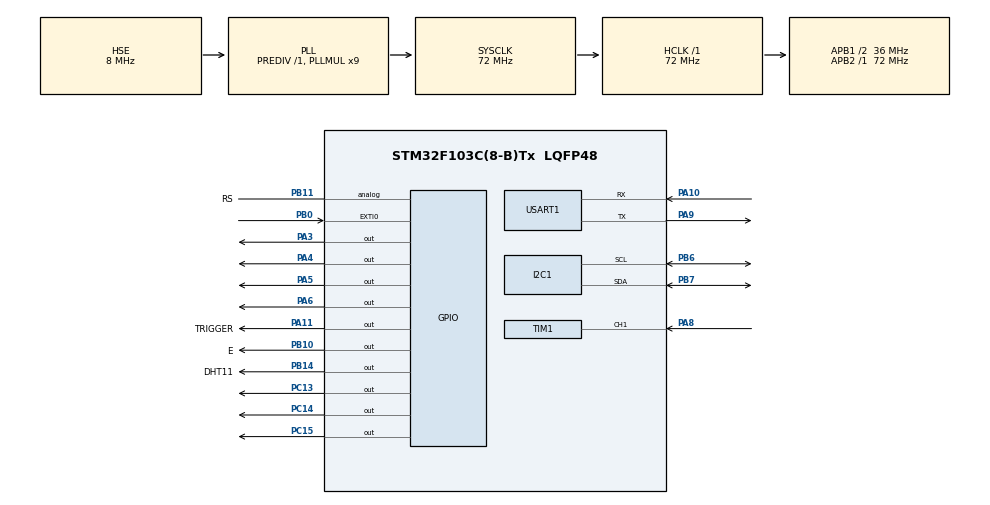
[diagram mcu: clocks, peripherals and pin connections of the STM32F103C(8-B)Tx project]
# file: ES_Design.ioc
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Dma.Request0=USART1_TX
Dma.Request1=USART1_RX
Dma.USART1_RX.1.Direction=DMA_PERIPH_TO_MEMORY
Dma.USART1_RX.1.Instance=DMA1_Channel5
Dma.USART1_RX.1.MemDataAlignment=DMA_MDATAALIGN_BYTE
Dma.USART1_RX.1.MemInc=DMA_MINC_ENABLE
Dma.USART1_RX.1.Mode=DMA_NORMAL
Dma.USART1_RX.1.PeriphDataAlignment=DMA_PDATAALIGN_BYTE
Dma.USART1_RX.1.PeriphInc=DMA_PINC_DISABLE
Dma.USART1_RX.1.Priority=DMA_PRIORITY_LOW
Dma.USART1_TX.0.Direction=DMA_MEMORY_TO_PERIPH
Dma.USART1_TX.0.Instance=DMA1_Channel4
Dma.USART1_TX.0.MemDataAlignment=DMA_MDATAALIGN_BYTE
Dma.USART1_TX.0.MemInc=DMA_MINC_ENABLE
Dma.USART1_TX.0.Mode=DMA_NORMAL
Dma.USART1_TX.0.PeriphDataAlignment=DMA_PDATAALIGN_BYTE
Dma.USART1_TX.0.PeriphInc=DMA_PINC_DISABLE
Dma.USART1_TX.0.Priority=DMA_PRIORITY_LOW
FREERTOS.Tasks01=defaultTask,0,128,StartDefaultTask,Default,NULL,Dynamic,NULL,NULL
FREERTOS.configTOTAL_HEAP_SIZE=10240
Mcu.Family=STM32F1
Mcu.Name=STM32F103C(8-B)Tx
Mcu.Package=LQFP48
NVIC.DMA1_Channel4_IRQn=true\:5\:0\:false\:false\:true\:true\:false\:true\:true
NVIC.DMA1_Channel5_IRQn=true\:5\:0\:false\:false\:true\:true\:false\:true\:true
NVIC.PriorityGroup=NVIC_PRIORITYGROUP_4
NVIC.TIM1_BRK_IRQn=true\:5\:0\:false\:false\:true\:true\:true\:true\:true
NVIC.TIM1_CC_IRQn=true\:5\:0\:false\:false\:true\:true\:true\:true\:true
NVIC.TIM1_TRG_COM_IRQn=true\:5\:0\:false\:false\:true\:true\:true\:true\:true
NVIC.TIM1_UP_IRQn=true\:5\:0\:false\:false\:true\:true\:true\:true\:true
NVIC.TIM3_IRQn=true\:15\:0\:false\:false\:true\:false\:false\:true\:true
NVIC.TimeBase=TIM3_IRQn
NVIC.TimeBaseIP=TIM3
NVIC.USART1_IRQn=true\:5\:0\:false\:false\:true\:true\:true\:true\:true
PA10.Mode=Asynchronous
PA10.Signal=USART1_RX
PA11.GPIO_Label=TRIGGER
PA11.Signal=GPIO_Output
PA13.Mode=Serial_Wire
PA13.Signal=SYS_JTMS-SWDIO
PA14.Mode=Serial_Wire
PA14.Signal=SYS_JTCK-SWCLK
PA3.Signal=GPIO_Output
PA4.Signal=GPIO_Output
PA5.Signal=GPIO_Output
PA6.Signal=GPIO_Output
PA8.Signal=S_TIM1_CH1
PA9.Mode=Asynchronous
PA9.Signal=USART1_TX
PB0.Signal=GPXTI0
PB10.GPIO_Label=E
PB10.Signal=GPIO_Output
PB11.GPIO_Label=RS
PB11.Signal=GPIO_Analog
PB14.GPIO_Label=DHT11
PB14.Signal=GPIO_Output
PB6.Mode=I2C
PB6.Signal=I2C1_SCL
PB7.Mode=I2C
PB7.Signal=I2C1_SDA
PC13-TAMPER-RTC.Signal=GPIO_Output
PC14-OSC32_IN.Signal=GPIO_Output
PC15-OSC32_OUT.Signal=GPIO_Output
PD0-OSC_IN.Mode=HSE-External-Oscillator
PD0-OSC_IN.Signal=RCC_OSC_IN
PD1-OSC_OUT.Mode=HSE-External-Oscillator
PD1-OSC_OUT.Signal=RCC_OSC_OUT
ProjectManager.HeapSize=0x200
ProjectManager.StackSize=0x400
ProjectManager.TargetToolchain=MDK-ARM V5.32
RCC.AHBFreq_Value=72000000
RCC.APB1CLKDivider=RCC_HCLK_DIV2
RCC.APB1Freq_Value=36000000
RCC.APB1TimFreq_Value=72000000
RCC.APB2Freq_Value=72000000
RCC.APB2TimFreq_Value=72000000
RCC.HCLKFreq_Value=72000000
RCC.PLLMUL=RCC_PLL_MUL9
RCC.PLLSourceVirtual=RCC_PLLSOURCE_HSE
RCC.SYSCLKFreq_VALUE=72000000
RCC.SYSCLKSource=RCC_SYSCLKSOURCE_PLLCLK
RCC.USBFreq_Value=72000000
SH.S_TIM1_CH1.0=TIM1_CH1,Input_Capture1_from_TI1
TIM1.Channel-Input_Capture1_from_TI1=TIM_CHANNEL_1
TIM1.Prescaler=71
USART1.VirtualMode=VM_ASYNC
VP_FREERTOS_VS_CMSIS_V1.Mode=CMSIS_V1
VP_SYS_VS_tim3.Mode=TIM3
VP_TIM1_VS_ClockSourceINT.Mode=Internal
board=custom

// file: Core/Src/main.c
/* USER CODE BEGIN Header */
/**
  ******************************************************************************
  * @file           : main.c
  * @brief          : Main program body
  ******************************************************************************
  * @attention
  *
  * Copyright (c) 2023 STMicroelectronics.
  * All rights reserved.
  *
  * This software is licensed under terms that can be found in the LICENSE file
  * in the root directory of this software component.
  * If no LICENSE file comes with this software, it is provided AS-IS.
  *
  ******************************************************************************
  */
/* USER CODE END Header */
#include "main.h"
#include "cmsis_os.h"

/* USER CODE BEGIN Includes */
#include "CLCD_I2C.h"
#include <stdio.h>
#include <string.h>
#include <math.h>
#include <stdbool.h>
uint32_t a = 0;
/* USER CODE END Includes */

/* USER CODE BEGIN PTD */

typedef struct{           // Gửi command, chu kì và ngưỡng đến task Uart_Threshold để thực thi
  uint32_t id;
  uint32_t command;
  uint32_t Frequency[3];
  uint32_t Threshold[3];
}myUartQueueData_t;

typedef struct{           // Gửi dữ liệu đến Task LCD và task Uart_Threshold
  uint32_t id;             // id = 1 gửi từ Task DHT
	uint32_t temp;           // id = 2 gửi từ Task HCSR
  uint32_t humi;
  uint32_t distance;
}myQueueData_t;

//uint32_t temp = 0;
//uint32_t humi = 0;
uint32_t Threshold_tem = 0;
uint32_t Threshold_hum = 0;
uint32_t Lcd_temp = 0;
uint32_t Lcd_humi = 0;
uint32_t time_dht = 0;
uint32_t dist = 0;
uint32_t Threshold_dist = 0;
uint32_t Lcd_dist = 0;
uint32_t time_hcsr = 0;
uint32_t time_Threshold = 0;
uint32_t time_Threshold_now = 0;
uint32_t time_lcd = 0;
uint32_t time_button = 0;
uint32_t time_uart = 0;
uint32_t time_dht_read = 0;
uint32_t time_hcsr_read = 0;
uint32_t cnt_uart = 0;
uint32_t cnt_uart_rei = 0;
/* Tung cmt */

#define TransmitBuff_SIZE	70
#define ReceiveBuff_SIZE	10
#define MainBuff_SIZE		9
#define Queue_SIZE			45

typedef void (*Task_FunctionTypeDef) (void);
Task_FunctionTypeDef queue[Queue_SIZE];
Task_FunctionTypeDef UART_Transmit_Func = NULL;

/* Data of DHT11 Sensor */
float temp = 0;
float humi = 0;
uint8_t Rh_byte1, Rh_byte2, Temp_byte1, Temp_byte2;
uint16_t SUM, RH, TEMP;
uint8_t Presence = 0;

/* Data line of LCD1602*/
char data_line_1[16];
char data_line_2[16];

/* Data of HC-SR04 Sensor */
uint32_t IC_Val1 = 0;
uint32_t IC_Val2 = 0;
uint32_t Difference = 0;
uint8_t Is_First_Captured = 0;  // is the first value captured ?
//uint8_t distance  = 0;
uint8_t distance  = 0;

/* Buffer Array */
uint8_t RxBuffer[ReceiveBuff_SIZE];
uint8_t TxBuffer[TransmitBuff_SIZE];
uint8_t MainBuffer[MainBuff_SIZE];

/* Period Time */
uint8_t DHT11_transmit_period;
uint8_t HCSR04_transmit_period;
uint8_t temp_transmit_period;
uint8_t humi_transmit_period;

/* Temperature Threshold */
uint8_t temp_threshold;

/* Humidity Threshold */
uint8_t humi_threshold;

/* Distance Threshold */
uint8_t dist_threshold;

/* Etc .. */
uint8_t cmd_index = 1;
uint8_t len = 0;

uint32_t start_tick = 0;
uint32_t stop_tick = 0;
uint32_t execute_tick = 0;

uint8_t humi_cnt = 0;
uint8_t temp_cnt = 0;
uint8_t dist_cnt = 0;

/* Enable Flag */
bool read_DHT11_flag = 0;
bool read_HCSR04_flag = 0;
bool transmit_DHT11_data_flag = 0;
bool transmit_temp_data_flag = 0;
bool transmit_humi_data_flag = 0;
bool transmit_dist_data_flag = 0;
bool transmit_DHT11_HCSR04_data_flag = 0;
bool transmit_temp_HCSR04_data_flag = 0;
bool transmit_humi_HCSR04_data_flag = 0;
bool lcd_display_flag = 0;
bool uart_enable_cmd_1 = 0;
bool uart_enable_cmd_2 = 0;

bool uart_enable_cmd_1_tmp = 0;
bool uart_enable_cmd_2_tmp = 0;

bool button_enable = 0;
bool isHumiTrans = 0;
bool isDistTrans = 0;

uint16_t Count = 0;
uint16_t cnt = 0;
uint16_t cnt_1 = 0;
uint8_t isr_cnt = 0;

int isr_tick_start;
int isr_tick_stop;
int isr_execute_tick;

int dht11_tick_old = 0;
int dht11_tick_new = 0;
int dht11_tick_period;

int lcd_tick_old = 0;
int lcd_tick_new = 0;
int lcd_tick_period;

int hcsr04_tick_old = 0;
int hcsr04_tick_new = 0;
int hcsr04_tick_period;

int old_tick = 0;
int new_tick = 0;

int task_idx = 0;
int old_task_idx;
int execute_time[46];
int idx = 4;

/* USER CODE END PTD */

I2C_HandleTypeDef hi2c1;

TIM_HandleTypeDef htim1;

UART_HandleTypeDef huart1;
DMA_HandleTypeDef hdma_usart1_tx;
DMA_HandleTypeDef hdma_usart1_rx;

osThreadId defaultTaskHandle;
/* USER CODE BEGIN PV */

osThreadId ButtonTaskHandle;               // task DHT
osThreadId HCSR04TaskHandle;            // task HCSR
osThreadId LCDTaskHandle;               // task LCD
osThreadId UARTTaskHandle;              // task xử lý dữ liệu nhận được từ UART
osThreadId DHTTaskHandle;            // task nút nhấn
osThreadId Uart_ThresholdTaskHandle;    // task xử lý ngưỡng và uart

osMessageQId myQueueDataHandle;                 // Gửi dữ liệu đến LCDTask
osMessageQId myQueueUart_ThresholdHandle;       // Gửi ngưỡng, chu kì đến Uart_ThresholdTask
osMessageQId myQueueUart_ThresholdDataHandle;   // Gửi dữ liệu đến Uart_ThresholdTask

/* USER CODE END PV */

void SystemClock_Config(void);
static void MX_GPIO_Init(void);
static void MX_DMA_Init(void);
static void MX_TIM1_Init(void);
static void MX_USART1_UART_Init(void);
static void MX_I2C1_Init(void);
void StartDefaultTask(void const * argument);

/* USER CODE BEGIN PFP */
CLCD_I2C_Name LCD1;
void ButtonTask(void const * argument);
void HCSR04Task(void const * argument);
void LCDTask(void const * argument);
void UARTTask(void const * argument);
void DHTTask(void const * argument);
void Uart_ThresholdTask(void const * argument);

// // Hiển thị LCD
//  void LCD_Display(void);

// Nhận UART
void HAL_UARTEx_RxEventCallback(UART_HandleTypeDef *huart, uint16_t Size);

// Delay microsecond
void delay_us(uint16_t time);

// Hàm Callback khi sóng siêu âm phản hồi v�? để đo khoảng cách
void HAL_TIM_IC_CaptureCallback(TIM_HandleTypeDef *htim);

// Hàm ngắt Timer
void HAL_TIM_PeriodElapsedCallback(TIM_HandleTypeDef *htim);

// Set chân cho DHT11
void Set_Pin_Output(GPIO_TypeDef *GPIOx, uint16_t GPIO_Pin);
void Set_Pin_Input(GPIO_TypeDef *GPIOx, uint16_t GPIO_Pin);

// Khởi tạo giao tiếp giữa DHT11 với Vi đi�?u khiển
void DHT11_Start(void);

// Kiểm tra phản hồi của DHT11
uint8_t DHT11_Check_Response(void);

uint8_t DHT11_Read(void);

// �?�?c cảm biến DHT11
void Read_DHT11_Sensor(void);

// �?�?c cảm biến HCSR04
void Read_HCSR04_Sensor(void);

/* USER CODE END PFP */

/* USER CODE BEGIN 0 */

/* Tung cmt */

// Set period, threshold value by button
void HAL_GPIO_EXTI_Callback(uint16_t GPIO_Pin)
{

	UNUSED(GPIO_Pin);
	if(GPIO_Pin == GPIO_PIN_0 ){
    BaseType_t xHigherPriority;
    xHigherPriority = xTaskResumeFromISR(ButtonTaskHandle);
    portEND_SWITCHING_ISR(xHigherPriority);
  }
}

void delay_us(uint16_t time)
{
	__HAL_TIM_SET_COUNTER(&htim1, 0);
	while (__HAL_TIM_GET_COUNTER (&htim1) < time);
}

void HAL_TIM_IC_CaptureCallback(TIM_HandleTypeDef *htim)
{
	if (htim->Channel == HAL_TIM_ACTIVE_CHANNEL_1)  // if the interrupt source is channel1
	{
		if (Is_First_Captured==0) // if the first value is not captured
		{
			IC_Val1 = HAL_TIM_ReadCapturedValue(htim, TIM_CHANNEL_1); // read the first value
			Is_First_Captured = 1;  // set the first captured as true
			// Now change the polarity to falling edge
			__HAL_TIM_SET_CAPTUREPOLARITY(htim, TIM_CHANNEL_1, TIM_INPUTCHANNELPOLARITY_FALLING);
		}

		else if (Is_First_Captured==1)   // if the first is already captured
		{
			IC_Val2 = HAL_TIM_ReadCapturedValue(htim, TIM_CHANNEL_1);  // read second value
			__HAL_TIM_SET_COUNTER(htim, 0);  // reset the counter

			if (IC_Val2 > IC_Val1)
			{
				Difference = IC_Val2-IC_Val1;
			}

			else if (IC_Val1 > IC_Val2)
			{
				Difference = (0xffff - IC_Val1) + IC_Val2;
			}

			distance = Difference * 0.034/2;
			Is_First_Captured = 0; // set it back to false

			// set polarity to rising edge
			__HAL_TIM_SET_CAPTUREPOLARITY(htim, TIM_CHANNEL_1, TIM_INPUTCHANNELPOLARITY_RISING);
			__HAL_TIM_DISABLE_IT(&htim1, TIM_IT_CC1);
			//stop_tick = HAL_GetTick();
			//execute_tick = stop_tick - start_tick;

		}
	}
}

void Read_HCSR04_Sensor(void)
{
	HAL_GPIO_WritePin(TRIGGER_GPIO_Port, TRIGGER_Pin, GPIO_PIN_SET);  // pull the TRIG pin HIGH
	delay_us(10);  // wait for 10 us
	HAL_GPIO_WritePin(TRIGGER_GPIO_Port, TRIGGER_Pin, GPIO_PIN_RESET);  // pull the TRIG pin low
	__HAL_TIM_ENABLE_IT(&htim1, TIM_IT_CC1);
}

void HAL_UARTEx_RxEventCallback(UART_HandleTypeDef *huart, uint16_t Size){
	if(huart->Instance == USART1){
		for(size_t i = 0; i<Size-1; i++) {
			if(RxBuffer[i] == 0x00){
				memcpy(MainBuffer, &RxBuffer[i], Size-i);
				//processRecCmd(Size-i);
				break;
			}

		}
        BaseType_t xHigherPriority;
        xHigherPriority = xTaskResumeFromISR(UARTTaskHandle);
        portEND_SWITCHING_ISR(xHigherPriority);

	}
}

void Set_Pin_Output (GPIO_TypeDef *GPIOx, uint16_t GPIO_Pin)
{
	GPIO_InitTypeDef GPIO_InitStruct = {0};
	GPIO_InitStruct.Pin = GPIO_Pin;
	GPIO_InitStruct.Mode = GPIO_MODE_OUTPUT_PP;
	GPIO_InitStruct.Speed = GPIO_SPEED_FREQ_LOW;
	HAL_GPIO_Init(GPIOx, &GPIO_InitStruct);
}

void Set_Pin_Input (GPIO_TypeDef *GPIOx, uint16_t GPIO_Pin)
{
	GPIO_InitTypeDef GPIO_InitStruct = {0};
	GPIO_InitStruct.Pin = GPIO_Pin;
	GPIO_InitStruct.Mode = GPIO_MODE_INPUT;
	GPIO_InitStruct.Pull = GPIO_PULLUP;
	HAL_GPIO_Init(GPIOx, &GPIO_InitStruct);
}

void DHT11_Start (void)
{
	Set_Pin_Output (DHT11_GPIO_Port, DHT11_Pin);  // set the pin as output
	HAL_GPIO_WritePin (DHT11_GPIO_Port, DHT11_Pin, 0);   // pull the pin low
	delay_us(25000);   // wait for 25ms
    HAL_GPIO_WritePin(DHT11_GPIO_Port, DHT11_Pin, 1);   // pull the pin high
	delay_us(25);   // wait for 25us
	Set_Pin_Input(DHT11_GPIO_Port, DHT11_Pin);    // set as input
}

uint8_t DHT11_Check_Response(void)
{
	uint8_t Response = 0;
	delay_us(40);
	if (!(HAL_GPIO_ReadPin(DHT11_GPIO_Port, DHT11_Pin)))
	{
		delay_us(80);
		if ((HAL_GPIO_ReadPin(DHT11_GPIO_Port, DHT11_Pin))) Response = 1;
		else Response = -1; // 255
	}
	else{
		return Response;
	}
	while ((HAL_GPIO_ReadPin(DHT11_GPIO_Port, DHT11_Pin)));   // wait for the pin to go low

	return Response;
}

uint8_t DHT11_Read(void)
{
	uint8_t i,j;
	for (j=0;j<8;j++)
	{
		while (!(HAL_GPIO_ReadPin(DHT11_GPIO_Port, DHT11_Pin)));   // wait for the pin to go high
		delay_us(40);   // wait for 40 us
		if (!(HAL_GPIO_ReadPin(DHT11_GPIO_Port, DHT11_Pin)))   // if the pin is low
		{
			i&= ~(1<<(7-j));   // write 0
		}
		else{
			i|= (1<<(7-j));  // if the pin is high, write 1
		}
		while ((HAL_GPIO_ReadPin(DHT11_GPIO_Port, DHT11_Pin)));  // wait for the pin to go low
	}
	return i;
}

void Read_DHT11_Sensor(void){
	//start_tick = HAL_GetTick();
	DHT11_Start();
    Presence = DHT11_Check_Response();
    if(Presence){
    	Rh_byte1 = DHT11_Read();
    	Rh_byte2 = DHT11_Read();
    	Temp_byte1 = DHT11_Read();
    	Temp_byte2 = DHT11_Read();
    	SUM = DHT11_Read();
    	TEMP = Temp_byte1;
    	RH = Rh_byte1;
    	temp = (float)TEMP;
    	humi = (float)RH;
    }
    //stop_tick = HAL_GetTick();
    //execute_tick = stop_tick - start_tick;
}

/* USER CODE END 0 */

int main(void)
{

  /* MCU Configuration--------------------------------------------------------*/

  /* Reset of all peripherals, Initializes the Flash interface and the Systick. */
  HAL_Init();

  /* Configure the system clock */
  SystemClock_Config();

  /* Initialize all configured peripherals */
  MX_GPIO_Init();
  MX_DMA_Init();
  MX_TIM1_Init();
  MX_USART1_UART_Init();
  MX_I2C1_Init();
  /* USER CODE BEGIN 2 */
	CLCD_I2C_Init(&LCD1,&hi2c1,0x4e,16,2);
	CLCD_I2C_SetCursor(&LCD1, 0, 0);
	CLCD_I2C_WriteString(&LCD1,"Temp");
	CLCD_I2C_SetCursor(&LCD1, 6, 0);
	CLCD_I2C_WriteString(&LCD1,"Humi");
	CLCD_I2C_SetCursor(&LCD1, 12, 0);
	CLCD_I2C_WriteString(&LCD1,"Dist");

  HAL_TIM_Base_Start(&htim1);
  HAL_TIM_IC_Start_IT(&htim1, TIM_CHANNEL_1);
  HAL_UARTEx_ReceiveToIdle_DMA(&huart1, RxBuffer, MainBuff_SIZE);
  __HAL_DMA_DISABLE_IT(&hdma_usart1_rx, DMA_IT_HT);

    //lcd_init();

		//HAL_Delay(200);

  /* USER CODE END 2 */

  /* USER CODE BEGIN RTOS_QUEUES */
  /* add queues, ... */
  osMailQDef(myQueueData, 14, myQueueData_t);
  myQueueDataHandle = osMailCreate(osMailQ(myQueueData), NULL);

  osMailQDef(myQueueUart, 14, myUartQueueData_t);
  myQueueUart_ThresholdDataHandle = osMailCreate(osMailQ(myQueueUart), NULL);

  osMailQDef(myQueueUart_Threshold, 14, myQueueData_t);
  myQueueUart_ThresholdHandle = osMailCreate(osMailQ(myQueueUart_Threshold), NULL);

  /* USER CODE END RTOS_QUEUES */

  /* Create the thread(s) */
  /* definition and creation of defaultTask */
  osThreadDef(defaultTask, StartDefaultTask, osPriorityNormal, 0, 128);
  defaultTaskHandle = osThreadCreate(osThread(defaultTask), NULL);

  /* USER CODE BEGIN RTOS_THREADS */

  osThreadDef(ButtonTaskHandleH, ButtonTask, osPriorityNormal, 0, 128);
  ButtonTaskHandle  = osThreadCreate(osThread(ButtonTaskHandleH), NULL);

  osThreadDef(Uart_ThresholdTaskH, Uart_ThresholdTask, osPriorityAboveNormal, 0, 128);
  Uart_ThresholdTaskHandle  = osThreadCreate(osThread(Uart_ThresholdTaskH), NULL);

  osThreadDef(HCSR04TaskH, HCSR04Task, osPriorityNormal, 0, 128);
  HCSR04TaskHandle = osThreadCreate(osThread(HCSR04TaskH), NULL);

  osThreadDef(LCDTaskH, LCDTask, osPriorityNormal, 0, 128);
  LCDTaskHandle  = osThreadCreate(osThread(LCDTaskH), NULL);

  osThreadDef(UARTTaskH, UARTTask, osPriorityNormal, 0, 128);
  UARTTaskHandle  = osThreadCreate(osThread(UARTTaskH), NULL);

  osThreadDef(DHTTaskH, DHTTask, osPriorityNormal, 0, 128);
  DHTTaskHandle  = osThreadCreate(osThread(DHTTaskH), NULL);

  /* add threads, ... */
  /* USER CODE END RTOS_THREADS */

  /* Start scheduler */
  osKernelStart();

  /* We should never get here as control is now taken by the scheduler */
  /* Infinite loop */
  while (1)
  {

  }
}

void SystemClock_Config(void)
{
  RCC_OscInitTypeDef RCC_OscInitStruct = {0};
  RCC_ClkInitTypeDef RCC_ClkInitStruct = {0};

  /** Initializes the RCC Oscillators according to the specified parameters
  * in the RCC_OscInitTypeDef structure.
  */
  RCC_OscInitStruct.OscillatorType = RCC_OSCILLATORTYPE_HSE;
  RCC_OscInitStruct.HSEState = RCC_HSE_ON;
  RCC_OscInitStruct.HSEPredivValue = RCC_HSE_PREDIV_DIV1;
  RCC_OscInitStruct.HSIState = RCC_HSI_ON;
  RCC_OscInitStruct.PLL.PLLState = RCC_PLL_ON;
  RCC_OscInitStruct.PLL.PLLSource = RCC_PLLSOURCE_HSE;
  RCC_OscInitStruct.PLL.PLLMUL = RCC_PLL_MUL9;
  if (HAL_RCC_OscConfig(&RCC_OscInitStruct) != HAL_OK)
  {
    Error_Handler();
  }

  /** Initializes the CPU, AHB and APB buses clocks
  */
  RCC_ClkInitStruct.ClockType = RCC_CLOCKTYPE_HCLK|RCC_CLOCKTYPE_SYSCLK
                              |RCC_CLOCKTYPE_PCLK1|RCC_CLOCKTYPE_PCLK2;
  RCC_ClkInitStruct.SYSCLKSource = RCC_SYSCLKSOURCE_PLLCLK;
  RCC_ClkInitStruct.AHBCLKDivider = RCC_SYSCLK_DIV1;
  RCC_ClkInitStruct.APB1CLKDivider = RCC_HCLK_DIV2;
  RCC_ClkInitStruct.APB2CLKDivider = RCC_HCLK_DIV1;

  if (HAL_RCC_ClockConfig(&RCC_ClkInitStruct, FLASH_LATENCY_2) != HAL_OK)
  {
    Error_Handler();
  }
}

static void MX_I2C1_Init(void)
{

  hi2c1.Instance = I2C1;
  hi2c1.Init.ClockSpeed = 100000;
  hi2c1.Init.DutyCycle = I2C_DUTYCYCLE_2;
  hi2c1.Init.OwnAddress1 = 0;
  hi2c1.Init.AddressingMode = I2C_ADDRESSINGMODE_7BIT;
  hi2c1.Init.DualAddressMode = I2C_DUALADDRESS_DISABLE;
  hi2c1.Init.OwnAddress2 = 0;
  hi2c1.Init.GeneralCallMode = I2C_GENERALCALL_DISABLE;
  hi2c1.Init.NoStretchMode = I2C_NOSTRETCH_DISABLE;
  if (HAL_I2C_Init(&hi2c1) != HAL_OK)
  {
    Error_Handler();
  }

}

static void MX_TIM1_Init(void)
{

  TIM_ClockConfigTypeDef sClockSourceConfig = {0};
  TIM_MasterConfigTypeDef sMasterConfig = {0};
  TIM_IC_InitTypeDef sConfigIC = {0};

  htim1.Instance = TIM1;
  htim1.Init.Prescaler = 71;
  htim1.Init.CounterMode = TIM_COUNTERMODE_UP;
  htim1.Init.Period = 65535;
  htim1.Init.ClockDivision = TIM_CLOCKDIVISION_DIV1;
  htim1.Init.RepetitionCounter = 0;
  htim1.Init.AutoReloadPreload = TIM_AUTORELOAD_PRELOAD_DISABLE;
  if (HAL_TIM_Base_Init(&htim1) != HAL_OK)
  {
    Error_Handler();
  }
  sClockSourceConfig.ClockSource = TIM_CLOCKSOURCE_INTERNAL;
  if (HAL_TIM_ConfigClockSource(&htim1, &sClockSourceConfig) != HAL_OK)
  {
    Error_Handler();
  }
  if (HAL_TIM_IC_Init(&htim1) != HAL_OK)
  {
    Error_Handler();
  }
  sMasterConfig.MasterOutputTrigger = TIM_TRGO_RESET;
  sMasterConfig.MasterSlaveMode = TIM_MASTERSLAVEMODE_DISABLE;
  if (HAL_TIMEx_MasterConfigSynchronization(&htim1, &sMasterConfig) != HAL_OK)
  {
    Error_Handler();
  }
  sConfigIC.ICPolarity = TIM_INPUTCHANNELPOLARITY_RISING;
  sConfigIC.ICSelection = TIM_ICSELECTION_DIRECTTI;
  sConfigIC.ICPrescaler = TIM_ICPSC_DIV1;
  sConfigIC.ICFilter = 0;
  if (HAL_TIM_IC_ConfigChannel(&htim1, &sConfigIC, TIM_CHANNEL_1) != HAL_OK)
  {
    Error_Handler();
  }

}

static void MX_USART1_UART_Init(void)
{

  huart1.Instance = USART1;
  huart1.Init.BaudRate = 115200;
  huart1.Init.WordLength = UART_WORDLENGTH_8B;
  huart1.Init.StopBits = UART_STOPBITS_1;
  huart1.Init.Parity = UART_PARITY_NONE;
  huart1.Init.Mode = UART_MODE_TX_RX;
  huart1.Init.HwFlowCtl = UART_HWCONTROL_NONE;
  huart1.Init.OverSampling = UART_OVERSAMPLING_16;
  if (HAL_UART_Init(&huart1) != HAL_OK)
  {
    Error_Handler();
  }

}

static void MX_DMA_Init(void)
{

  /* DMA controller clock enable */
  __HAL_RCC_DMA1_CLK_ENABLE();

  /* DMA interrupt init */
  /* DMA1_Channel4_IRQn interrupt configuration */
  HAL_NVIC_SetPriority(DMA1_Channel4_IRQn, 5, 0);
  HAL_NVIC_EnableIRQ(DMA1_Channel4_IRQn);
  /* DMA1_Channel5_IRQn interrupt configuration */
  HAL_NVIC_SetPriority(DMA1_Channel5_IRQn, 5, 0);
  HAL_NVIC_EnableIRQ(DMA1_Channel5_IRQn);

}

static void MX_GPIO_Init(void)
{
  GPIO_InitTypeDef GPIO_InitStruct = {0};

  /* GPIO Ports Clock Enable */
  __HAL_RCC_GPIOC_CLK_ENABLE();
  __HAL_RCC_GPIOD_CLK_ENABLE();
  __HAL_RCC_GPIOA_CLK_ENABLE();
  __HAL_RCC_GPIOB_CLK_ENABLE();

  /*Configure GPIO pin Output Level */
  HAL_GPIO_WritePin(GPIOC, GPIO_PIN_13|GPIO_PIN_14|GPIO_PIN_15, GPIO_PIN_RESET);

  /*Configure GPIO pin Output Level */
  HAL_GPIO_WritePin(GPIOA, GPIO_PIN_3|GPIO_PIN_4|GPIO_PIN_5|GPIO_PIN_6
                          |TRIGGER_Pin, GPIO_PIN_RESET);

  /*Configure GPIO pin Output Level */
  HAL_GPIO_WritePin(GPIOB, E_Pin|DHT11_Pin, GPIO_PIN_RESET);

  /*Configure GPIO pins : PC13 PC14 PC15 */
  GPIO_InitStruct.Pin = GPIO_PIN_13|GPIO_PIN_14|GPIO_PIN_15;
  GPIO_InitStruct.Mode = GPIO_MODE_OUTPUT_PP;
  GPIO_InitStruct.Pull = GPIO_NOPULL;
  GPIO_InitStruct.Speed = GPIO_SPEED_FREQ_LOW;
  HAL_GPIO_Init(GPIOC, &GPIO_InitStruct);

  /*Configure GPIO pins : PA3 PA4 PA5 PA6
                           TRIGGER_Pin */
  GPIO_InitStruct.Pin = GPIO_PIN_3|GPIO_PIN_4|GPIO_PIN_5|GPIO_PIN_6
                          |TRIGGER_Pin;
  GPIO_InitStruct.Mode = GPIO_MODE_OUTPUT_PP;
  GPIO_InitStruct.Pull = GPIO_NOPULL;
  GPIO_InitStruct.Speed = GPIO_SPEED_FREQ_LOW;
  HAL_GPIO_Init(GPIOA, &GPIO_InitStruct);

  /*Configure GPIO pin : PB0 */
  GPIO_InitStruct.Pin = GPIO_PIN_0;
  GPIO_InitStruct.Mode = GPIO_MODE_IT_RISING;
  GPIO_InitStruct.Pull = GPIO_NOPULL;
  HAL_GPIO_Init(GPIOB, &GPIO_InitStruct);

  /*Configure GPIO pins : E_Pin DHT11_Pin */
  GPIO_InitStruct.Pin = E_Pin|DHT11_Pin;
  GPIO_InitStruct.Mode = GPIO_MODE_OUTPUT_PP;
  GPIO_InitStruct.Pull = GPIO_NOPULL;
  GPIO_InitStruct.Speed = GPIO_SPEED_FREQ_LOW;
  HAL_GPIO_Init(GPIOB, &GPIO_InitStruct);

  /*Configure GPIO pin : RS_Pin */
  GPIO_InitStruct.Pin = RS_Pin;
  GPIO_InitStruct.Mode = GPIO_MODE_ANALOG;
  HAL_GPIO_Init(RS_GPIO_Port, &GPIO_InitStruct);

}

/* USER CODE BEGIN 4 */

// ButtonTask
void ButtonTask(void const * argument)
{
  uint32_t time_now = 0;
  uint32_t time_pre = 0;
  uint32_t cnt_button = 0;

  myUartQueueData_t *msg = osMailAlloc(myQueueUart_ThresholdHandle, osWaitForever);
  msg->id = 2; // gửi từ ButtonTask

  while(1)
  {
    vTaskSuspend(NULL);
    cnt_button++;
		/* Nhan nut lan 1, dat chu ky truyen UART cac cam bien la 1s */
		if(cnt_button == 1){
			msg->Frequency[0] = 1000;
      msg->Frequency[1] = 1000;
      msg->Frequency[2] = 1000;

			HAL_GPIO_WritePin(GPIOC, GPIO_PIN_13, GPIO_PIN_SET);
			HAL_GPIO_WritePin(GPIOC, GPIO_PIN_14, GPIO_PIN_SET);
			HAL_GPIO_WritePin(GPIOC, GPIO_PIN_15, GPIO_PIN_RESET);
		}
		/* Nhan nut lan 2, dat chu ky truyen UART cac cam bien la 2s */
		else if(cnt_button == 2){
			msg->Frequency[0] = 2000;
      msg->Frequency[1] = 2000;
      msg->Frequency[2] = 2000;
			HAL_GPIO_WritePin(GPIOC, GPIO_PIN_13, GPIO_PIN_SET);
			HAL_GPIO_WritePin(GPIOC, GPIO_PIN_14, GPIO_PIN_RESET);
			HAL_GPIO_WritePin(GPIOC, GPIO_PIN_15, GPIO_PIN_SET);
		}
		/* Nhan nut lan 3, dat chu ky truyen UART cac cam bien la 3s */
		else if(cnt_button == 3){
			msg->Frequency[0] = 3000;
      msg->Frequency[1] = 3000;
      msg->Frequency[2] = 3000;
			HAL_GPIO_WritePin(GPIOC, GPIO_PIN_13, GPIO_PIN_RESET);
			HAL_GPIO_WritePin(GPIOC, GPIO_PIN_14, GPIO_PIN_SET);
			HAL_GPIO_WritePin(GPIOC, GPIO_PIN_15, GPIO_PIN_SET);
			cnt_button = 0;
		}
    osMailPut(myQueueUart_ThresholdHandle, msg);
  }
}

// Task đ�?c và gửi khoảng cách
void HCSR04Task(void const * argument)
{
  uint32_t time_now = 0;
  uint32_t time_pre = 0;

  //int8_t Distance = 0;

  myQueueData_t *msg = osMailAlloc(myQueueDataHandle, osWaitForever);
  msg->id = 2;    // Gửi từ HCSR04Task tới LCDTask
  myQueueData_t *msg1 = osMailAlloc(myQueueUart_ThresholdDataHandle, osWaitForever);
  msg1->id = 2;   // Gửi từ HCSR04Task tới Uart_ThresholdTask

  while(1)
  {
  time_now = xTaskGetTickCount();
  time_hcsr = time_now - time_pre;
  time_pre = time_now;
  // �?ưa khoảng cách lưu vào biết Distance
  time_now = xTaskGetTickCount();
  Read_HCSR04_Sensor();
  time_hcsr_read = xTaskGetTickCount()-time_now;
  osDelay(100);

// dist = distance;
  msg->distance = distance;      // biến khoảng cách
  osMailPut(myQueueDataHandle, msg);

  msg1->distance = distance;
  osMailPut(myQueueUart_ThresholdDataHandle, msg1);

   osDelay(100);

   }
}

// Task hiển thị LCD
void LCDTask(void const * argument)
{
  uint32_t time_now = 0;
  uint32_t time_pre = 0;

  uint8_t temp_lcd = 0;
  uint8_t humi_lcd = 0;
  uint8_t dist_lcd = 0;

  char x[20];

  osEvent Recv_Task_data; // nhận dữ liệu từ Queue01
  while(1)
  {

  time_now = xTaskGetTickCount();
  time_lcd = time_now - time_pre;
  time_pre = time_now;

    //vTaskSuspend(NULL);
    //osDelay(1000);
    //uint8_t temp, humi, dist;
    // Nhận dữ liệu từ DHT và HCSR
    Recv_Task_data = osMailGet(myQueueDataHandle, 0);
    while (Recv_Task_data.status == osEventMail)
    {
    myQueueData_t *data = Recv_Task_data.value.p; // con tr�? đến cấu trúc lưu nhiệt độ, độ ẩm, khoảng cách
    if(data->id == 1) // Nhận nhiệt độ độ ẩm
    {
      temp_lcd = data->temp;
      humi_lcd = data->humi;

      // temp = data->temp;
      // humi = data->humi;
    }
    else              // Nhận Khoảng cách
    {
      dist_lcd = data->distance;

      //dist = data->distance;
    }
// nhận xong phải giải phóng
    osMailFree(myQueueDataHandle, data);
    Recv_Task_data = osMailGet(myQueueDataHandle, 0);
// Xử lý hiển thị
	CLCD_I2C_Clear(&LCD1);
	CLCD_I2C_SetCursor(&LCD1, 0, 0);
	CLCD_I2C_WriteString(&LCD1,"Temp");
	CLCD_I2C_SetCursor(&LCD1, 6, 0);
	CLCD_I2C_WriteString(&LCD1,"Humi");
	CLCD_I2C_SetCursor(&LCD1, 12, 0);
	CLCD_I2C_WriteString(&LCD1,"Dist");
	sprintf(x,"%doC",temp_lcd);
	CLCD_I2C_SetCursor(&LCD1, 0, 1);
	CLCD_I2C_WriteString(&LCD1,x);
  sprintf(x,"%dRH",humi_lcd);
	CLCD_I2C_SetCursor(&LCD1, 6, 1);
	CLCD_I2C_WriteString(&LCD1,x);
  sprintf(x,"%dcm",(int)dist_lcd);
	CLCD_I2C_SetCursor(&LCD1, 12, 1);
	CLCD_I2C_WriteString(&LCD1,x);
    }

    Lcd_temp = temp_lcd;
    Lcd_humi = humi_lcd;
    Lcd_dist = dist_lcd;

  osDelay(100);
  }
}
// // Task xử lý khi nhân được ngắt UART
// // Nhận dữ liệu và cập nhật ngưỡng vào Queue2 để các task khác xử lý
// // Thêm 1 task ngưỡng, dùng suspend và resume
void UARTTask(void const * argument)
{
  uint32_t time_now = 0;
  uint32_t time_pre = 0;
  myUartQueueData_t *msg = osMailAlloc(myQueueUart_ThresholdHandle, osWaitForever);
  msg->id = 1;
  while(1)
  {
    vTaskSuspend(NULL);

// // �?ưa các biến Command; Frequency; Threshold vào Queue2 để các task khác xử lý
if( MainBuffer[8] == 0x08){

// // �?ưa các biến Command; Frequency; Threshold vào Queue2 để các task khác xử lý
    cnt_uart = MainBuffer[2];
// gửi đến DHTTask, thay 1 bằng dữ liệu nhân được từ UART
     msg->command = MainBuffer[1];
     msg->Frequency[0] = MainBuffer[2];         // chu kì nhiệt độ DHTTask
     msg->Frequency[1] = MainBuffer[3];         // chu kì độ ẩm DHTTask
     msg->Frequency[2] = MainBuffer[4];         // chu kì HCSR04ask
     msg->Threshold[0] = MainBuffer[5];         // Ngưỡng nhiệt
     msg->Threshold[1] = MainBuffer[6];         // Ngưỡng độ ẩm
     msg->Threshold[2] = MainBuffer[7];         // Ngưỡng khoảng cách
     osMailPut(myQueueUart_ThresholdHandle, msg);

			}
    HAL_UARTEx_ReceiveToIdle_DMA(&huart1, RxBuffer, MainBuff_SIZE);
		__HAL_DMA_DISABLE_IT(&hdma_usart1_rx, DMA_IT_HT);
  }
}
/* DHTTask */
void DHTTask(void const * argument)
{
    uint32_t time_now = 0;
  uint32_t time_pre = 0;
  myQueueData_t *msg = osMailAlloc(myQueueDataHandle, osWaitForever);
  msg->id = 1;    // Gửi từ HCSR04Task tới LCDTask
  myQueueData_t *msg1 = osMailAlloc(myQueueUart_ThresholdDataHandle, osWaitForever);
  msg1->id = 1;   // Gửi từ HCSR04Task tới Uart_ThresholdTask

  while(1)
  {
    // vTaskSuspend(NULL);
    // osDelay(1000);

  //uint8_t temp = 0;
  //uint8_t humi = 0;

    time_now = xTaskGetTickCount();
	  time_dht = time_now - time_pre;
	  time_pre = time_now;

  // time_now = xTaskGetTickCount();
	// time_dht = time_now - time_pre;
	//time_pre = time_now;
// �?ưa nhiệt độ, độ ẩm vào myQueueDataHandle để hiển thị LCD
// temp: nhiệt độ đo được bởi DHT

  time_now = xTaskGetTickCount();
  Read_DHT11_Sensor();
  time_dht_read = xTaskGetTickCount()-time_now;

     msg->humi = humi;
		 msg->temp = temp;
     osMailPut(myQueueDataHandle, msg);
// gửi sang Task Threshold để xử lý
     msg1->humi = humi;
     msg1->temp = temp;
     osMailPut(myQueueUart_ThresholdDataHandle, msg1);
 osDelay(4000-28);
  }

}

// /* Task xử lý ngưỡng */
void Uart_ThresholdTask(void const * argument)
{
  uint32_t Frequency_Temp = 2000;
  uint32_t Frequency_Humi = 4000;
  uint32_t Frequency_Dist = 6000;

  uint32_t Threshold_Temp = 100;
  uint32_t Threshold_Humi = 100;
  uint32_t Threshold_Dist = 100;

  uint32_t command = 0;
  uint32_t pre_command = 0;

  uint32_t temp1 = 100;
  uint32_t humi1 = 100;
  uint32_t dist1 = 100;

  uint32_t time_now = 0;
  uint32_t time_pre = 0;

  uint32_t time_temp = 0;
  uint32_t time_humi = 0;
  uint32_t time_dist = 0;

  osEvent Recv_Task_data_uart;  // nhận dữ liệu từ myQueueUart_ThresholdHandle
  osEvent Recv_Task_data; // nhận dữ liệu từ DHT và HCSR
  while(1)
  {
    time_now = xTaskGetTickCount();
	  time_Threshold = time_now - time_pre;
	  time_pre = time_now;

    // // Nhận dữ liệu từ myQueueUart_ThresholdHandle
    Recv_Task_data_uart = osMailGet(myQueueUart_ThresholdHandle, 0);
    while (Recv_Task_data_uart.status == osEventMail)
    {
        myUartQueueData_t *data = Recv_Task_data_uart.value.p; // con tr�? đến cấu trúc lưu nhiệt độ, độ ẩm
        if(data->id == 1) // Nhận từ UartTask
        {
        command = data->command;
        Frequency_Temp = data->Frequency[0];              // chu kì nhiệt độ DHT
        Frequency_Humi = data->Frequency[1];              // chu kì độ ẩm DHT
        Frequency_Dist = data->Frequency[2];              // chu kì khoảng cách
        Threshold_Temp = data->Threshold[0];              // Ngưỡng nhiệt
        Threshold_Humi = data->Threshold[1];              // Ngưỡng độ ẩm
        Threshold_Dist = data->Threshold[2];              // Ngưỡng khoảng cách
        }
        else              // nhận từ ButtonTask
        {
        Frequency_Temp = data->Frequency[0];              // chu kì nhiệt độ DHT
        Frequency_Humi = data->Frequency[1];              // chu kì độ ẩm DHT
        Frequency_Dist = data->Frequency[2];              // chu kì khoảng cách
        }
        // nhận xong phải giải phóng
        osMailFree(myQueueUart_ThresholdHandle, data);
        Recv_Task_data_uart = osMailGet(myQueueUart_ThresholdHandle, 0);

        time_temp = 0;
        time_humi = 0;
        time_dist = 0;
        Frequency_Temp = Frequency_Temp*1000;              // chu kì nhiệt độ DHT
        Frequency_Humi = Frequency_Humi*1000;              // chu kì độ ẩm DHT
        Frequency_Dist = Frequency_Dist*1000;              // chu kì khoảng cách
    }

    cnt_uart_rei = Frequency_Temp;

    if(command != pre_command)
    {
      pre_command = command;
      // Xử lý command
      switch (command) {
		case 0x01:
			/* some codes */

			HAL_GPIO_WritePin(GPIOC, GPIO_PIN_13, GPIO_PIN_RESET);
			HAL_GPIO_WritePin(GPIOC, GPIO_PIN_14, GPIO_PIN_SET);
			HAL_GPIO_WritePin(GPIOC, GPIO_PIN_15, GPIO_PIN_SET);
      break;

		case 0x02:
			HAL_GPIO_WritePin(GPIOC, GPIO_PIN_13, GPIO_PIN_RESET);
			HAL_GPIO_WritePin(GPIOC, GPIO_PIN_14, GPIO_PIN_SET);
			HAL_GPIO_WritePin(GPIOC, GPIO_PIN_15, GPIO_PIN_RESET);
		  break;
    case 0x03:
			HAL_GPIO_WritePin(GPIOC, GPIO_PIN_13, GPIO_PIN_RESET);
			HAL_GPIO_WritePin(GPIOC, GPIO_PIN_14, GPIO_PIN_RESET);
			HAL_GPIO_WritePin(GPIOC, GPIO_PIN_15, GPIO_PIN_SET);
		  break;
		default:
		  break;
	}

    }

    // Nhận dữ liệu từ myQueueUart_ThresholdHandle
    // Nhận dữ liệu từ DHT và HCSR
    Recv_Task_data = osMailGet(myQueueUart_ThresholdDataHandle, 0);
    while(Recv_Task_data.status == osEventMail)
    {
        myQueueData_t *data = Recv_Task_data.value.p; // con tr�? đến cấu trúc lưu nhiệt độ, độ ẩm, khoảng cách
        if(data->id == 1) // Nhận nhiệt độ độ ẩm
        {
        // Threshold_tem = data->temp;
        // Threshold_hum = data->humi;
        temp1 = data->temp;
        humi1 = data->humi;
        }
        else              // Nhận Khoảng cách
        {
        // Threshold_dist = data->distance;
        dist1 = data->distance;
        }
        // nhận xong phải giải phóng
        osMailFree(myQueueUart_ThresholdDataHandle, data);
        Recv_Task_data = osMailGet(myQueueUart_ThresholdDataHandle, 0);
    }

// Xử lý ngưỡng, Bật Led

    Threshold_tem = temp1;
    Threshold_hum = humi1;
    Threshold_dist = dist1;

if(((xTaskGetTickCount() - time_temp) > Frequency_Temp -6) && ((xTaskGetTickCount() - time_humi) > Frequency_Humi -6) && ((xTaskGetTickCount() - time_dist) > Frequency_Dist -6) ) // gửi sau chu kì Frequency_Dist
    {
      time_temp = xTaskGetTickCount();
      time_humi = time_temp;
      time_dist = time_temp;
  memset(TxBuffer, 0, TransmitBuff_SIZE);
	sprintf((char*)TxBuffer, "\nTemperature: %doC , Humidity: %d%% , Distance: %d , time: %d \n", (int) temp1, (int) humi1, (int) dist1,(int) (time_temp));
	HAL_UART_Transmit_DMA(&huart1, TxBuffer, sizeof(TxBuffer));
    }
else if (((xTaskGetTickCount() - time_temp) > Frequency_Temp -6) && ((xTaskGetTickCount() - time_humi) > Frequency_Humi -6)  ) // gửi sau chu kì Frequency_Dist
    {
      time_temp = xTaskGetTickCount();
      time_humi = time_temp;
  memset(TxBuffer, 0, TransmitBuff_SIZE);
	sprintf((char*)TxBuffer, "\nTemperature: %doC , Humidity: %d%% , time: %d \n", (int) temp1, (int) humi1,(int) (time_temp));
	HAL_UART_Transmit_DMA(&huart1, TxBuffer, sizeof(TxBuffer));
    }
else if (((xTaskGetTickCount() - time_temp) > Frequency_Temp -6) && ((xTaskGetTickCount() - time_dist) > Frequency_Dist -6) ) // gửi sau chu kì Frequency_Dist
    {
      time_temp = xTaskGetTickCount();
      time_dist = time_temp;
  memset(TxBuffer, 0, TransmitBuff_SIZE);
	sprintf((char*)TxBuffer, "\nTemperature: %doC , Distance: %d , time: %d \n", (int) temp1, (int) dist1,(int) (time_temp));
	HAL_UART_Transmit_DMA(&huart1, TxBuffer, sizeof(TxBuffer));
    }
else if (((xTaskGetTickCount() - time_humi) > Frequency_Humi -6) && ((xTaskGetTickCount() - time_dist) > Frequency_Dist -6) ) // gửi sau chu kì Frequency_Dist
    {
      time_humi = xTaskGetTickCount();
      time_dist = time_humi;
  memset(TxBuffer, 0, TransmitBuff_SIZE);
	sprintf((char*)TxBuffer, "\nHumidity: %d%% , Distance: %d , time: %d \n",(int) humi1, (int) dist1,(int) (time_humi));
	HAL_UART_Transmit_DMA(&huart1, TxBuffer, sizeof(TxBuffer));
    }
else if((xTaskGetTickCount() - time_temp) > Frequency_Temp - 6) // gửi sau chu kì Frequency_Dist
    {
      time_temp = xTaskGetTickCount();
  memset(TxBuffer, 0, TransmitBuff_SIZE);
	sprintf((char*)TxBuffer, "\nTemperature: %doC , time: %d \n", (int) temp1,(int) (time_temp));
	HAL_UART_Transmit_DMA(&huart1, TxBuffer, sizeof(TxBuffer));
    }
else if((xTaskGetTickCount() - time_humi) > Frequency_Humi - 6 ) // gửi sau chu kì Frequency_Dist
    {
      time_humi = xTaskGetTickCount();
  memset(TxBuffer, 0, TransmitBuff_SIZE);
	sprintf((char*)TxBuffer, "\nHumidity: %d%% , time: %d \n", (int) humi1,(int) (time_humi));
	HAL_UART_Transmit_DMA(&huart1, TxBuffer, sizeof(TxBuffer));
    }
else if((xTaskGetTickCount() - time_dist) > Frequency_Dist - 6) // gửi sau chu kì Frequency_Dist
    {
      time_dist = xTaskGetTickCount();
  memset(TxBuffer, 0, TransmitBuff_SIZE);
	sprintf((char*)TxBuffer, "\nDistance: %d , time: %d \n", (int) dist1,(int) (time_dist));
	HAL_UART_Transmit_DMA(&huart1, TxBuffer, sizeof(TxBuffer));
    }
    osDelay(100);
}
}

/* USER CODE END 4 */

void StartDefaultTask(void const * argument)
{
  /* USER CODE BEGIN 5 */
  /* Infinite loop */
  for(;;)
  {
		vTaskSuspend(NULL);
    osDelay(1000);
  }
  /* USER CODE END 5 */
}

void HAL_TIM_PeriodElapsedCallback(TIM_HandleTypeDef *htim)
{
  if (htim->Instance == TIM3) {
    HAL_IncTick();
  }
}

void Error_Handler(void)
{
  __disable_irq();
  while (1)
  {
  }
}
